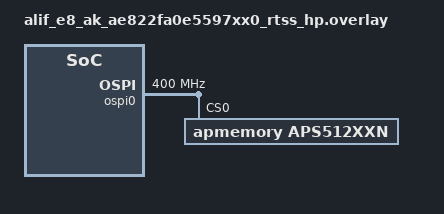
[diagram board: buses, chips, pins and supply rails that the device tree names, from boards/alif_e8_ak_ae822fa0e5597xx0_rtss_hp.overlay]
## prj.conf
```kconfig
# Copyright (C) 2025 Alif Semiconductor - All Rights Reserved.
# Use, distribution and modification of this code is permitted under the
# terms stated in the Alif Semiconductor Software License Agreement
#
# You should have received a copy of the Alif Semiconductor Software
# License Agreement with this file. If not, please write to:
# contact@alifsemi.com, or visit: https://alifsemi.com/license


CONFIG_STDOUT_CONSOLE=y
CONFIG_PRINTK=y
CONFIG_ARM_MPU=y
CONFIG_MEMC=y
CONFIG_MSPI_XIP=y
CONFIG_USE_ALIF_HAL_OSPI=y
CONFIG_EVENTS=y
CONFIG_LOG=y
```

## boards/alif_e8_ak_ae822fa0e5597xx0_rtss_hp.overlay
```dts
/* Copyright (C) 2025 Alif Semiconductor - All Rights Reserved.
 * Use, distribution and modification of this code is permitted under the
 * terms stated in the Alif Semiconductor Software License Agreement
 *
 * You should have received a copy of the Alif Semiconductor Software
 * License Agreement with this file. If not, please write to:
 * contact@alifsemi.com, or visit: https://alifsemi.com/license
 */

/*
 * For HSPI0 Test with APS512XXN RAM
 */

/ {
	aliases {
		spi-psram = &aps512xxn;
	};
};

&pinctrl {
	pinctrl_ospi0:pinctrl_ospi0 {
		group0 {
			pinmux = < PIN_P2_0__OSPI0_D0_B >,
				 < PIN_P2_1__OSPI0_D1_B >,
				 < PIN_P2_2__OSPI0_D2_B >,
				 < PIN_P2_3__OSPI0_D3_B >,
				 < PIN_P2_4__OSPI0_D4_B >,
				 < PIN_P2_5__OSPI0_D5_B >,
				 < PIN_P2_6__OSPI0_D6_B >,
				 < PIN_P2_7__OSPI0_D7_B >,
				 < PIN_P16_0__OSPI0_D8_B >,
				 < PIN_P16_1__OSPI0_D9_B >,
				 < PIN_P16_2__OSPI0_D10_B >,
				 < PIN_P16_3__OSPI0_D11_B >,
				 < PIN_P16_4__OSPI0_D12_B >,
				 < PIN_P16_5__OSPI0_D13_B >,
				 < PIN_P16_6__OSPI0_D14_B >,
				 < PIN_P16_7__OSPI0_D15_B >;
			read-enable = <0x1>;
			drive-strength = <12>;
			slew-rate = <0x1>;
			schmitt-enable = <0x1>;
		};
		group1 {
			pinmux = < PIN_P3_0__OSPI0_SCLK_B >,
				 < PIN_P3_2__OSPI0_SS0_B >;
			read-enable = <0x1>;
			drive-strength = <12>;
		};
		group2 {
			pinmux = < PIN_P1_6__OSPI0_RXDS_B >,
				 < PIN_P8_5__OSPI0_RXDS1_A >;
			read-enable = <0x1>;
			drive-strength = <12>;
			slew-rate = <0x1>;
			schmitt-enable = <0x1>;
		};
	};
};


&ospi0 {
	/delete-node/ aps512xxn;
	rx-ds-delay = <11>;
	xip-wait-cycles = <255>;
	tx-fifo-threshold = <0>;
	ddr-drive-edge = <1>;
	clocks = <&clockctrl ALIF_OSPI0_ACLK_CLK>;
	clock-frequency = <400000000>;
	x16-address-shim;
	status = "okay";

	aps512xxn: aps512xxn@0 {
		compatible = "apmemory,aps512xxn";
		reg = <0>;
		size = <DT_SIZE_M(512)>;
		mspi-max-frequency = <100000000>;
		mspi-io-mode = "MSPI_IO_MODE_HEX_8_8_16";
		mspi-data-rate = "MSPI_DATA_RATE_S_D_D";
		mspi-dqs-enable;
		mspi-hardware-ce-num = <0>;
		mspi-cpp-mode = "MSPI_CPP_MODE_0";
		mspi-endian = "MSPI_BIG_ENDIAN";
		mspi-ce-polarity = "MSPI_CE_ACTIVE_LOW";
		rx-dummy = <3>;
		tx-dummy = <3>;
		read-command = <0x20>;
		write-command = <0xa0>;
		command-length = "INSTR_1_BYTE";
		address-length = "ADDR_4_BYTE";
		xip-config = <1 0x0 DT_SIZE_M(64) 0>;
		latency-code = <4>;
		status = "okay";
	};
};
```

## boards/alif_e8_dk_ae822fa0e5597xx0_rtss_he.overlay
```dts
/* Copyright (C) 2025 Alif Semiconductor - All Rights Reserved.
 * Use, distribution and modification of this code is permitted under the
 * terms stated in the Alif Semiconductor Software License Agreement
 *
 * You should have received a copy of the Alif Semiconductor Software
 * License Agreement with this file. If not, please write to:
 * contact@alifsemi.com, or visit: https://alifsemi.com/license
 */

/*
 * For HSPI0 Test with APS512XXN RAM
 */

/ {
	aliases {
		spi-psram = &aps512xxn;
	};
};

&pinctrl {
	pinctrl_ospi0:pinctrl_ospi0 {
		group0 {
			pinmux = < PIN_P2_0__OSPI0_D0_B >,
				 < PIN_P2_1__OSPI0_D1_B >,
				 < PIN_P2_2__OSPI0_D2_B >,
				 < PIN_P2_3__OSPI0_D3_B >,
				 < PIN_P2_4__OSPI0_D4_B >,
				 < PIN_P2_5__OSPI0_D5_B >,
				 < PIN_P2_6__OSPI0_D6_B >,
				 < PIN_P2_7__OSPI0_D7_B >;
			read-enable = <0x1>;
			drive-strength = <12>;
			slew-rate = <0x1>;
			schmitt-enable = <0x1>;
		};
		group1 {
			pinmux = < PIN_P3_0__OSPI0_SCLK_B >,
				 < PIN_P3_2__OSPI0_SS0_B >;
			read-enable = <0x1>;
			drive-strength = <12>;
		};
		group2 {
			pinmux = < PIN_P1_6__OSPI0_RXDS_B >;
			read-enable = <0x1>;
			drive-strength = <12>;
			slew-rate = <0x1>;
			schmitt-enable = <0x1>;
		};
	};
};


&ospi0 {
	rx-ds-delay = <11>;
	xip-wait-cycles = <255>;
	tx-fifo-threshold = <0>;
	ddr-drive-edge = <1>;
	clocks = <&clockctrl ALIF_OSPI0_ACLK_CLK>;
	xip-base-address = <0xA0000000 0x10000000>;
	bus-speed = <100000000>;
	status = "okay";

	aps512xxn: aps512xxn {
		compatible = "alif,apmemory-aps512xxn";
		size = <DT_SIZE_M(64)>;
		latency-code = <4>;
		status = "okay";
	};
};
```

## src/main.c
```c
/* Copyright (C) 2025 Alif Semiconductor - All Rights Reserved.
 * Use, distribution and modification of this code is permitted under the
 * terms stated in the Alif Semiconductor Software License Agreement
 *
 * You should have received a copy of the Alif Semiconductor Software
 * License Agreement with this file. If not, please write to:
 * contact@alifsemi.com, or visit: https://alifsemi.com/license
 */

#include <stdio.h>
#include <stdint.h>
#include <zephyr/device.h>
#include <zephyr/devicetree.h>
#include <zephyr/kernel.h>
#include <errno.h>

#if defined(CONFIG_SOC_AE402FA0E5597XX0) || defined(CONFIG_SOC_SERIES_E8) || \
	defined(CONFIG_SOC_SERIES_E7) || \
	defined(CONFIG_SOC_SERIES_E5) || \
	defined(CONFIG_SOC_SERIES_E3) || defined(CONFIG_SOC_SERIES_E1)
#include <zephyr/arch/arm/mpu/arm_mpu.h>
#include <zephyr/cache.h>
#include <zephyr/sys/barrier.h>
#endif

#define PSRAM_NODE		DT_ALIAS(spi_psram)
#define OSPI_XIP_BASE		DT_REG_ADDR_BY_NAME(DT_PARENT(PSRAM_NODE), xip)
#define PSRAM_TEST_CACHEABLE_ATTR	0

#if defined(CONFIG_SOC_AE402FA0E5597XX0) || defined(CONFIG_SOC_SERIES_E8) || \
	defined(CONFIG_SOC_SERIES_E7) || \
	defined(CONFIG_SOC_SERIES_E5) || \
	defined(CONFIG_SOC_SERIES_E3) || defined(CONFIG_SOC_SERIES_E1)
#define PSRAM_TEST_RUNTIME_MPU_ATTR	1
#if defined(CONFIG_SOC_AE402FA0E5597XX0) || defined(CONFIG_SOC_SERIES_E8)
typedef uint32_t psram_data_t;
#else
typedef uint16_t psram_data_t;
#endif
#else
#define PSRAM_TEST_RUNTIME_MPU_ATTR	0
#if defined(CONFIG_SOC_SERIES_B1)
typedef uint16_t psram_data_t;
#else
/**32b used in HexRAM */
typedef uint32_t psram_data_t;
#endif
#endif

static void print_test_config(uint32_t ram_size)
{
	printk("Test configuration:\n");
	printk("  XIP base        : 0x%x\n", (uint32_t)OSPI_XIP_BASE);
	printk("  RAM size        : %u bytes\n", ram_size);
	printk("  Access width    : %u-bit\n", sizeof(psram_data_t) * 8);
	printk("  Pattern         : incrementing %u-bit value, wraps at data width\n",
	       sizeof(psram_data_t) * 8);
#if PSRAM_TEST_RUNTIME_MPU_ATTR
	#if PSRAM_TEST_CACHEABLE_ATTR
	printk("  MPU test cases  : Device, Normal non-cacheable, SRAM cacheable\n");
	#else
	printk("  MPU test cases  : Device, Normal non-cacheable\n");
	#endif
#else
	printk("  MPU test cases  : Direct read/write, no runtime MPU changes\n");
#endif
}

static void print_test_case(const char *mode, const char *write_attr, const char *read_attr)
{
	printk("\nTest case: %s\n", mode);
	printk("  Write attribute : %s\n", write_attr);
	printk("  Read attribute  : %s\n", read_attr);
}

#if PSRAM_TEST_RUNTIME_MPU_ATTR
static int ospi_xip_set_mair_idx(uint8_t mair_idx, size_t cache_size)
{
	for (uint32_t region = 0; region < mpu_config.num_regions; region++) {
		const struct arm_mpu_region *mpu_region = &mpu_config.mpu_regions[region];

		if (mpu_region->base != OSPI_XIP_BASE) {
			continue;
		}

		unsigned int key = irq_lock();

		(void)sys_cache_data_flush_and_invd_range((void *)OSPI_XIP_BASE, cache_size);
		barrier_dsync_fence_full();
		ARM_MPU_SetRegion(region, OSPI_XIP_BASE | mpu_region->attr.rbar,
				  mpu_region->attr.r_limit |
					  (mair_idx << MPU_RLAR_AttrIndx_Pos) |
					  MPU_RLAR_EN_Msk);
		barrier_dsync_fence_full();
		barrier_isync_fence_full();
		irq_unlock(key);

		return 0;
	}

	return -ENOENT;
}
#endif

static uint32_t verify_pattern(const char *mode, volatile psram_data_t *ptr, uint32_t ram_size)
{
	const uint32_t progress_interval = 1024U * 1024U;
	uint32_t total_errors = 0;

	printk("Reading back in %s mode:\n", mode);

	for (uint32_t index = 0; index < (ram_size / sizeof(psram_data_t)); index++) {
		uint32_t offset = index * sizeof(psram_data_t);

		if ((offset % progress_interval) == 0U) {
			printk("%s verifying offset 0x%08x\n", mode, offset);
		}

		psram_data_t got = ptr[index];
		psram_data_t expected = (psram_data_t)index;

		if (got != expected) {
			printk("%s read error at addr %x, line_item %u, got %x, expected %x\n",
			       mode, (index * sizeof(psram_data_t)),
			       index & ((32 / sizeof(psram_data_t)) - 1),
			       got, expected);
			total_errors++;
			break;
		}
	}

	printk("%s total errors = %u\n", mode, total_errors);

	return total_errors;
}

int main(void)
{
	const struct device *psram_dev = DEVICE_DT_GET(PSRAM_NODE);

	volatile psram_data_t *const ptr = (volatile psram_data_t *)OSPI_XIP_BASE;
	uint32_t ram_size;

	ram_size = DT_PROP(PSRAM_NODE, size);

	if (!device_is_ready(psram_dev)) {
		printk("%s: device not ready.\n", psram_dev->name);
		return -1;
	}

	printk("\nPSRAM XIP mode demo app started\n");
	print_test_config(ram_size);

#if PSRAM_TEST_RUNTIME_MPU_ATTR
	int ret;

	print_test_case("Device", "Device", "Device");

	ret = ospi_xip_set_mair_idx(MPU_MAIR_INDEX_DEVICE, ram_size);
	if (ret != 0) {
		printk("Failed to set OSPI XIP Device MPU attribute: %d\n", ret);
		return ret;
	}

	printk("Writing data to the XIP region:\n");

	for (uint32_t index = 0; index < (ram_size/sizeof(psram_data_t)); index++) {
		ptr[index] = (psram_data_t)index;
	}
	barrier_dsync_fence_full();

	(void)verify_pattern("Device", ptr, ram_size);

	print_test_case("Normal non-cacheable", "Device", "Normal non-cacheable");

	ret = ospi_xip_set_mair_idx(MPU_MAIR_INDEX_SRAM_NOCACHE, ram_size);
	if (ret != 0) {
		printk("Failed to set OSPI XIP Normal non-cacheable MPU attribute: %d\n", ret);
		return ret;
	}

	(void)verify_pattern("Normal non-cacheable", ptr, ram_size);

#if PSRAM_TEST_CACHEABLE_ATTR
	print_test_case("SRAM cacheable", "Device", "SRAM cacheable");

	ret = ospi_xip_set_mair_idx(MPU_MAIR_INDEX_SRAM, ram_size);
	if (ret != 0) {
		printk("Failed to set OSPI XIP SRAM cacheable MPU attribute: %d\n", ret);
		return ret;
	}

	(void)verify_pattern("SRAM cacheable", ptr, ram_size);
#endif
#else
	print_test_case("Direct", "Default MPU/static attribute", "Default MPU/static attribute");

	printk("Writing data to the XIP region:\n");

	for (uint32_t index = 0; index < (ram_size/sizeof(psram_data_t)); index++) {
		ptr[index] = (psram_data_t)index;
	}

	(void)verify_pattern("Default", ptr, ram_size);
#endif

	printk("Done\n");

	return 0;
}
```
